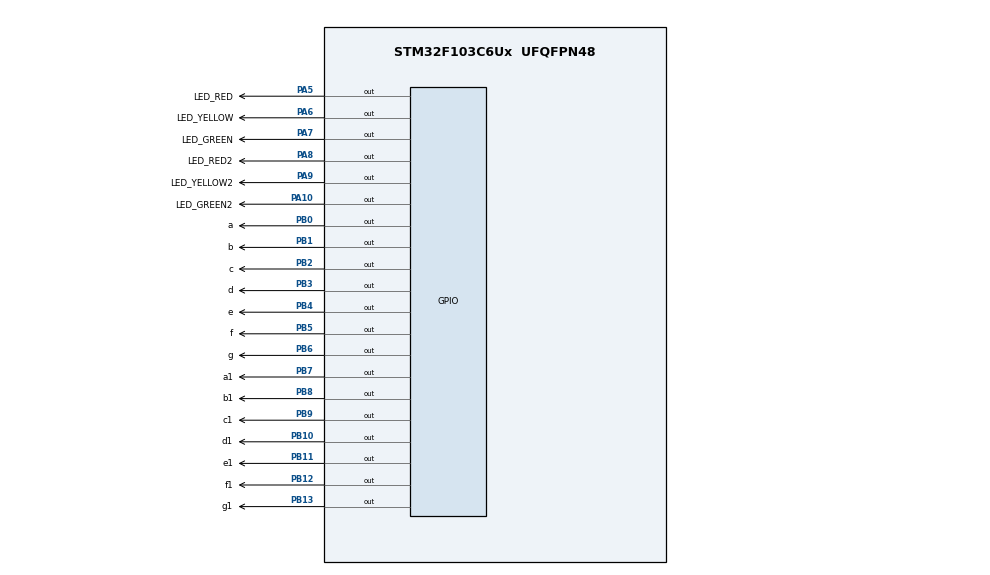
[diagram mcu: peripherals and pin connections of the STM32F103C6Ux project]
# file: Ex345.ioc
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Mcu.Family=STM32F1
Mcu.Name=STM32F103C6Ux
Mcu.Package=UFQFPN48
NVIC.PriorityGroup=NVIC_PRIORITYGROUP_4
PA10.GPIO_Label=LED_GREEN2
PA10.Signal=GPIO_Output
PA5.GPIO_Label=LED_RED
PA5.Signal=GPIO_Output
PA6.GPIO_Label=LED_YELLOW
PA6.Signal=GPIO_Output
PA7.GPIO_Label=LED_GREEN
PA7.Signal=GPIO_Output
PA8.GPIO_Label=LED_RED2
PA8.Signal=GPIO_Output
PA9.GPIO_Label=LED_YELLOW2
PA9.Signal=GPIO_Output
PB0.GPIO_Label=a
PB0.Signal=GPIO_Output
PB1.GPIO_Label=b
PB1.Signal=GPIO_Output
PB10.GPIO_Label=d1
PB10.Signal=GPIO_Output
PB11.GPIO_Label=e1
PB11.Signal=GPIO_Output
PB12.GPIO_Label=f1
PB12.Signal=GPIO_Output
PB13.GPIO_Label=g1
PB13.Signal=GPIO_Output
PB2.GPIO_Label=c
PB2.Signal=GPIO_Output
PB3.GPIO_Label=d
PB3.Signal=GPIO_Output
PB4.GPIO_Label=e
PB4.Signal=GPIO_Output
PB5.GPIO_Label=f
PB5.Signal=GPIO_Output
PB6.GPIO_Label=g
PB6.Signal=GPIO_Output
PB7.GPIO_Label=a1
PB7.Signal=GPIO_Output
PB8.GPIO_Label=b1
PB8.Signal=GPIO_Output
PB9.GPIO_Label=c1
PB9.Signal=GPIO_Output
ProjectManager.HeapSize=0x200
ProjectManager.StackSize=0x400
ProjectManager.TargetToolchain=STM32CubeIDE
RCC.APB1Freq_Value=8000000
RCC.APB2Freq_Value=8000000
VP_SYS_VS_ND.Mode=No_Debug
board=custom

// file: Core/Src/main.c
/* USER CODE BEGIN Header */
/**
  ******************************************************************************
  * @file           : main.c
  * @brief          : Main program body
  ******************************************************************************
  * @attention
  *
  * <h2><center>&copy; Copyright (c) 2024 STMicroelectronics.
  * All rights reserved.</center></h2>
  *
  * This software component is licensed by ST under BSD 3-Clause license,
  * the "License"; You may not use this file except in compliance with the
  * License. You may obtain a copy of the License at:
  *                        opensource.org/licenses/BSD-3-Clause
  *
  ******************************************************************************
  */
/* USER CODE END Header */
#include "main.h"

void SystemClock_Config(void);
static void MX_GPIO_Init(void);
void display7SEG1(int num);
void display7SEG(int num);

int main(void)
{

  /* MCU Configuration--------------------------------------------------------*/

  /* Reset of all peripherals, Initializes the Flash interface and the Systick. */
  HAL_Init();

  /* Configure the system clock */
  SystemClock_Config();

  /* Initialize all configured peripherals */
  MX_GPIO_Init();

  /* Infinite loop */
  /* USER CODE BEGIN WHILE */
  int counter = 11;
  while (1)
  {
		 counter --;
		 if (counter >= 8 && counter <=10 )
		 {
			 HAL_GPIO_WritePin ( LED_RED_GPIO_Port , LED_RED_Pin ,GPIO_PIN_RESET );
			 HAL_GPIO_WritePin ( LED_YELLOW_GPIO_Port , LED_YELLOW_Pin ,GPIO_PIN_SET );
			 HAL_GPIO_WritePin ( LED_GREEN_GPIO_Port , LED_GREEN_Pin ,GPIO_PIN_SET );

			 HAL_GPIO_WritePin ( LED_RED2_GPIO_Port , LED_RED2_Pin ,GPIO_PIN_SET );
			 HAL_GPIO_WritePin ( LED_YELLOW2_GPIO_Port , LED_YELLOW2_Pin ,GPIO_PIN_SET );
			 HAL_GPIO_WritePin ( LED_GREEN2_GPIO_Port , LED_GREEN2_Pin ,GPIO_PIN_RESET );
		 }
		 else if (counter >= 6 && counter <=7 )
		 {
			 HAL_GPIO_WritePin ( LED_RED_GPIO_Port , LED_RED_Pin ,GPIO_PIN_RESET );
			 HAL_GPIO_WritePin ( LED_YELLOW_GPIO_Port , LED_YELLOW_Pin ,GPIO_PIN_SET );
			 HAL_GPIO_WritePin ( LED_GREEN_GPIO_Port , LED_GREEN_Pin ,GPIO_PIN_SET );

			 HAL_GPIO_WritePin ( LED_RED2_GPIO_Port , LED_RED2_Pin ,GPIO_PIN_SET );
			 HAL_GPIO_WritePin ( LED_YELLOW2_GPIO_Port , LED_YELLOW2_Pin ,GPIO_PIN_RESET );
			 HAL_GPIO_WritePin ( LED_GREEN2_GPIO_Port , LED_GREEN2_Pin ,GPIO_PIN_SET );
		 }
		 else if (counter >= 3 && counter <=5)
		 {
			 HAL_GPIO_WritePin ( LED_RED_GPIO_Port , LED_RED_Pin ,GPIO_PIN_SET );
			 HAL_GPIO_WritePin ( LED_YELLOW_GPIO_Port , LED_YELLOW_Pin ,GPIO_PIN_SET );
			 HAL_GPIO_WritePin ( LED_GREEN_GPIO_Port , LED_GREEN_Pin ,GPIO_PIN_RESET );

			 HAL_GPIO_WritePin ( LED_RED2_GPIO_Port , LED_RED2_Pin ,GPIO_PIN_RESET );
			 HAL_GPIO_WritePin ( LED_YELLOW2_GPIO_Port , LED_YELLOW2_Pin ,GPIO_PIN_SET );
			 HAL_GPIO_WritePin ( LED_GREEN2_GPIO_Port , LED_GREEN2_Pin ,GPIO_PIN_SET );
		 }
		 else if (counter >= 1 && counter <= 2)
		 {
		 		 HAL_GPIO_WritePin ( LED_RED_GPIO_Port , LED_RED_Pin ,GPIO_PIN_SET );
		 		 HAL_GPIO_WritePin ( LED_YELLOW_GPIO_Port , LED_YELLOW_Pin ,GPIO_PIN_RESET );
		 		 HAL_GPIO_WritePin ( LED_GREEN_GPIO_Port , LED_GREEN_Pin ,GPIO_PIN_SET );

		 		 HAL_GPIO_WritePin ( LED_RED2_GPIO_Port , LED_RED2_Pin ,GPIO_PIN_RESET );
		 		 HAL_GPIO_WritePin ( LED_YELLOW2_GPIO_Port , LED_YELLOW2_Pin ,GPIO_PIN_SET );
		 		 HAL_GPIO_WritePin ( LED_GREEN2_GPIO_Port , LED_GREEN2_Pin ,GPIO_PIN_SET );
		 }
		 if (counter < 1)
		 {
			 counter = 11;
		 }
		 display7SEG(counter);
		 display7SEG1(counter);
		 HAL_Delay (1000) ;

	    /* USER CODE END WHILE */

	  }
}

    /* USER CODE END WHILE */

    /* USER CODE BEGIN 3 */
/* USER CODE BEGIN 3 */

void display7SEG(int num)
{
	switch (num) {
		case 1:
	          HAL_GPIO_WritePin(a_GPIO_Port, a_Pin, GPIO_PIN_RESET);
	          HAL_GPIO_WritePin(b_GPIO_Port, b_Pin, GPIO_PIN_RESET);
	          HAL_GPIO_WritePin(c_GPIO_Port, c_Pin, GPIO_PIN_RESET);
	          HAL_GPIO_WritePin(d_GPIO_Port, d_Pin, GPIO_PIN_RESET);
	          HAL_GPIO_WritePin(e_GPIO_Port, e_Pin, GPIO_PIN_RESET);
	          HAL_GPIO_WritePin(f_GPIO_Port, f_Pin, GPIO_PIN_RESET);
	          HAL_GPIO_WritePin(g_GPIO_Port, g_Pin, GPIO_PIN_SET);
			break;
		case 2:
	          HAL_GPIO_WritePin(a_GPIO_Port, a_Pin, GPIO_PIN_SET);
	          HAL_GPIO_WritePin(b_GPIO_Port, b_Pin, GPIO_PIN_RESET);
	          HAL_GPIO_WritePin(c_GPIO_Port, c_Pin, GPIO_PIN_RESET);
	          HAL_GPIO_WritePin(d_GPIO_Port, d_Pin, GPIO_PIN_SET);
	          HAL_GPIO_WritePin(e_GPIO_Port, e_Pin, GPIO_PIN_SET);
	          HAL_GPIO_WritePin(f_GPIO_Port, f_Pin, GPIO_PIN_SET);
	          HAL_GPIO_WritePin(g_GPIO_Port, g_Pin, GPIO_PIN_SET);
			break;
		case 3:
	          HAL_GPIO_WritePin(a_GPIO_Port, a_Pin, GPIO_PIN_RESET);
	          HAL_GPIO_WritePin(b_GPIO_Port, b_Pin, GPIO_PIN_RESET);
	          HAL_GPIO_WritePin(c_GPIO_Port, c_Pin, GPIO_PIN_RESET);
	          HAL_GPIO_WritePin(d_GPIO_Port, d_Pin, GPIO_PIN_RESET);
	          HAL_GPIO_WritePin(e_GPIO_Port, e_Pin, GPIO_PIN_RESET);
	          HAL_GPIO_WritePin(f_GPIO_Port, f_Pin, GPIO_PIN_RESET);
	          HAL_GPIO_WritePin(g_GPIO_Port, g_Pin, GPIO_PIN_SET);
			break;
		case 4:
	          HAL_GPIO_WritePin(a_GPIO_Port, a_Pin, GPIO_PIN_SET);
	          HAL_GPIO_WritePin(b_GPIO_Port, b_Pin, GPIO_PIN_RESET);
	          HAL_GPIO_WritePin(c_GPIO_Port, c_Pin, GPIO_PIN_RESET);
	          HAL_GPIO_WritePin(d_GPIO_Port, d_Pin, GPIO_PIN_SET);
	          HAL_GPIO_WritePin(e_GPIO_Port, e_Pin, GPIO_PIN_SET);
	          HAL_GPIO_WritePin(f_GPIO_Port, f_Pin, GPIO_PIN_SET);
	          HAL_GPIO_WritePin(g_GPIO_Port, g_Pin, GPIO_PIN_SET);
			break;
		case 5:
	          HAL_GPIO_WritePin(a_GPIO_Port, a_Pin, GPIO_PIN_RESET);
	          HAL_GPIO_WritePin(b_GPIO_Port, b_Pin, GPIO_PIN_RESET);
	          HAL_GPIO_WritePin(c_GPIO_Port, c_Pin, GPIO_PIN_SET);
	          HAL_GPIO_WritePin(d_GPIO_Port, d_Pin, GPIO_PIN_RESET);
	          HAL_GPIO_WritePin(e_GPIO_Port, e_Pin, GPIO_PIN_RESET);
	          HAL_GPIO_WritePin(f_GPIO_Port, f_Pin, GPIO_PIN_SET);
	          HAL_GPIO_WritePin(g_GPIO_Port, g_Pin, GPIO_PIN_RESET);
			break;
		case 6:
	          HAL_GPIO_WritePin(a_GPIO_Port, a_Pin, GPIO_PIN_RESET);
	          HAL_GPIO_WritePin(b_GPIO_Port, b_Pin, GPIO_PIN_RESET);
	          HAL_GPIO_WritePin(c_GPIO_Port, c_Pin, GPIO_PIN_RESET);
	          HAL_GPIO_WritePin(d_GPIO_Port, d_Pin, GPIO_PIN_RESET);
	          HAL_GPIO_WritePin(e_GPIO_Port, e_Pin, GPIO_PIN_RESET);
	          HAL_GPIO_WritePin(f_GPIO_Port, f_Pin, GPIO_PIN_RESET);
	          HAL_GPIO_WritePin(g_GPIO_Port, g_Pin, GPIO_PIN_SET);
			break;
		case 7:
	          HAL_GPIO_WritePin(a_GPIO_Port, a_Pin, GPIO_PIN_SET);
	          HAL_GPIO_WritePin(b_GPIO_Port, b_Pin, GPIO_PIN_RESET);
	          HAL_GPIO_WritePin(c_GPIO_Port, c_Pin, GPIO_PIN_RESET);
	          HAL_GPIO_WritePin(d_GPIO_Port, d_Pin, GPIO_PIN_SET);
	          HAL_GPIO_WritePin(e_GPIO_Port, e_Pin, GPIO_PIN_SET);
	          HAL_GPIO_WritePin(f_GPIO_Port, f_Pin, GPIO_PIN_SET);
	          HAL_GPIO_WritePin(g_GPIO_Port, g_Pin, GPIO_PIN_SET);
			break;
		case 8:
	          HAL_GPIO_WritePin(a_GPIO_Port, a_Pin, GPIO_PIN_RESET);
	          HAL_GPIO_WritePin(b_GPIO_Port, b_Pin, GPIO_PIN_RESET);
	          HAL_GPIO_WritePin(c_GPIO_Port, c_Pin, GPIO_PIN_SET);
	          HAL_GPIO_WritePin(d_GPIO_Port, d_Pin, GPIO_PIN_RESET);
	          HAL_GPIO_WritePin(e_GPIO_Port, e_Pin, GPIO_PIN_RESET);
	          HAL_GPIO_WritePin(f_GPIO_Port, f_Pin, GPIO_PIN_SET);
	          HAL_GPIO_WritePin(g_GPIO_Port, g_Pin, GPIO_PIN_RESET);
			break;
		case 9:
	          HAL_GPIO_WritePin(a_GPIO_Port, a_Pin, GPIO_PIN_RESET);
	          HAL_GPIO_WritePin(b_GPIO_Port, b_Pin, GPIO_PIN_RESET);
	          HAL_GPIO_WritePin(c_GPIO_Port, c_Pin, GPIO_PIN_RESET);
	          HAL_GPIO_WritePin(d_GPIO_Port, d_Pin, GPIO_PIN_RESET);
	          HAL_GPIO_WritePin(e_GPIO_Port, e_Pin, GPIO_PIN_SET);
	          HAL_GPIO_WritePin(f_GPIO_Port, f_Pin, GPIO_PIN_SET);
	          HAL_GPIO_WritePin(g_GPIO_Port, g_Pin, GPIO_PIN_RESET);
			break;
		case 10:
	          HAL_GPIO_WritePin(a_GPIO_Port, a_Pin, GPIO_PIN_SET);
	          HAL_GPIO_WritePin(b_GPIO_Port, b_Pin, GPIO_PIN_RESET);
	          HAL_GPIO_WritePin(c_GPIO_Port, c_Pin, GPIO_PIN_RESET);
	          HAL_GPIO_WritePin(d_GPIO_Port, d_Pin, GPIO_PIN_SET);
	          HAL_GPIO_WritePin(e_GPIO_Port, e_Pin, GPIO_PIN_SET);
	          HAL_GPIO_WritePin(f_GPIO_Port, f_Pin, GPIO_PIN_RESET);
	          HAL_GPIO_WritePin(g_GPIO_Port, g_Pin, GPIO_PIN_RESET);
			break;
		default:
			break;
	}
}

void display7SEG1(int num)
{
	switch (num) {
		case 1:
	          HAL_GPIO_WritePin(a1_GPIO_Port, a1_Pin, GPIO_PIN_RESET);
	          HAL_GPIO_WritePin(b1_GPIO_Port, b1_Pin, GPIO_PIN_RESET);
	          HAL_GPIO_WritePin(c1_GPIO_Port, c1_Pin, GPIO_PIN_RESET);
	          HAL_GPIO_WritePin(d1_GPIO_Port, d1_Pin, GPIO_PIN_RESET);
	          HAL_GPIO_WritePin(e1_GPIO_Port, e1_Pin, GPIO_PIN_RESET);
	          HAL_GPIO_WritePin(f1_GPIO_Port, f1_Pin, GPIO_PIN_RESET);
	          HAL_GPIO_WritePin(g1_GPIO_Port, g1_Pin, GPIO_PIN_SET);
			break;
		case 2:
	          HAL_GPIO_WritePin(a1_GPIO_Port, a1_Pin, GPIO_PIN_SET);
	          HAL_GPIO_WritePin(b1_GPIO_Port, b1_Pin, GPIO_PIN_RESET);
	          HAL_GPIO_WritePin(c1_GPIO_Port, c1_Pin, GPIO_PIN_RESET);
	          HAL_GPIO_WritePin(d1_GPIO_Port, d1_Pin, GPIO_PIN_SET);
	          HAL_GPIO_WritePin(e1_GPIO_Port, e1_Pin, GPIO_PIN_SET);
	          HAL_GPIO_WritePin(f1_GPIO_Port, f1_Pin, GPIO_PIN_SET);
	          HAL_GPIO_WritePin(g1_GPIO_Port, g1_Pin, GPIO_PIN_SET);
			break;
		case 3:
	          HAL_GPIO_WritePin(a1_GPIO_Port, a1_Pin, GPIO_PIN_RESET);
	          HAL_GPIO_WritePin(b1_GPIO_Port, b1_Pin, GPIO_PIN_RESET);
	          HAL_GPIO_WritePin(c1_GPIO_Port, c1_Pin, GPIO_PIN_SET);
	          HAL_GPIO_WritePin(d1_GPIO_Port, d1_Pin, GPIO_PIN_RESET);
	          HAL_GPIO_WritePin(e1_GPIO_Port, e1_Pin, GPIO_PIN_RESET);
	          HAL_GPIO_WritePin(f1_GPIO_Port, f1_Pin, GPIO_PIN_SET);
	          HAL_GPIO_WritePin(g1_GPIO_Port, g1_Pin, GPIO_PIN_RESET);
			break;
		case 4:
	          HAL_GPIO_WritePin(a1_GPIO_Port, a1_Pin, GPIO_PIN_RESET);
	          HAL_GPIO_WritePin(b1_GPIO_Port, b1_Pin, GPIO_PIN_RESET);
	          HAL_GPIO_WritePin(c1_GPIO_Port, c1_Pin, GPIO_PIN_RESET);
	          HAL_GPIO_WritePin(d1_GPIO_Port, d1_Pin, GPIO_PIN_RESET);
	          HAL_GPIO_WritePin(e1_GPIO_Port, e1_Pin, GPIO_PIN_SET);
	          HAL_GPIO_WritePin(f1_GPIO_Port, f1_Pin, GPIO_PIN_SET);
	          HAL_GPIO_WritePin(g1_GPIO_Port, g1_Pin, GPIO_PIN_RESET);
			break;
		case 5:
	          HAL_GPIO_WritePin(a1_GPIO_Port, a1_Pin, GPIO_PIN_SET);
	          HAL_GPIO_WritePin(b1_GPIO_Port, b1_Pin, GPIO_PIN_RESET);
	          HAL_GPIO_WritePin(c1_GPIO_Port, c1_Pin, GPIO_PIN_RESET);
	          HAL_GPIO_WritePin(d1_GPIO_Port, d1_Pin, GPIO_PIN_SET);
	          HAL_GPIO_WritePin(e1_GPIO_Port, e1_Pin, GPIO_PIN_SET);
	          HAL_GPIO_WritePin(f1_GPIO_Port, f1_Pin, GPIO_PIN_RESET);
	          HAL_GPIO_WritePin(g1_GPIO_Port, g1_Pin, GPIO_PIN_RESET);
			break;
		case 6:
	          HAL_GPIO_WritePin(a1_GPIO_Port, a1_Pin, GPIO_PIN_RESET);
	          HAL_GPIO_WritePin(b1_GPIO_Port, b1_Pin, GPIO_PIN_RESET);
	          HAL_GPIO_WritePin(c1_GPIO_Port, c1_Pin, GPIO_PIN_RESET);
	          HAL_GPIO_WritePin(d1_GPIO_Port, d1_Pin, GPIO_PIN_RESET);
	          HAL_GPIO_WritePin(e1_GPIO_Port, e1_Pin, GPIO_PIN_RESET);
	          HAL_GPIO_WritePin(f1_GPIO_Port, f1_Pin, GPIO_PIN_RESET);
	          HAL_GPIO_WritePin(g1_GPIO_Port, g1_Pin, GPIO_PIN_SET);
			break;
		case 7:
	          HAL_GPIO_WritePin(a1_GPIO_Port, a1_Pin, GPIO_PIN_RESET);
	          HAL_GPIO_WritePin(a1_GPIO_Port, a1_Pin, GPIO_PIN_SET);
	          HAL_GPIO_WritePin(b1_GPIO_Port, b1_Pin, GPIO_PIN_RESET);
	          HAL_GPIO_WritePin(c1_GPIO_Port, c1_Pin, GPIO_PIN_RESET);
	          HAL_GPIO_WritePin(d1_GPIO_Port, d1_Pin, GPIO_PIN_SET);
	          HAL_GPIO_WritePin(e1_GPIO_Port, e1_Pin, GPIO_PIN_SET);
	          HAL_GPIO_WritePin(f1_GPIO_Port, f1_Pin, GPIO_PIN_SET);
	          HAL_GPIO_WritePin(g1_GPIO_Port, g1_Pin, GPIO_PIN_SET);
			break;
		case 8:
	          HAL_GPIO_WritePin(a1_GPIO_Port, a1_Pin, GPIO_PIN_RESET);
	          HAL_GPIO_WritePin(b1_GPIO_Port, b1_Pin, GPIO_PIN_RESET);
	          HAL_GPIO_WritePin(c1_GPIO_Port, c1_Pin, GPIO_PIN_RESET);
	          HAL_GPIO_WritePin(d1_GPIO_Port, d1_Pin, GPIO_PIN_RESET);
	          HAL_GPIO_WritePin(e1_GPIO_Port, e1_Pin, GPIO_PIN_RESET);
	          HAL_GPIO_WritePin(f1_GPIO_Port, f1_Pin, GPIO_PIN_RESET);
	          HAL_GPIO_WritePin(g1_GPIO_Port, g1_Pin, GPIO_PIN_SET);
			break;
		case 9:
	          HAL_GPIO_WritePin(a1_GPIO_Port, a1_Pin, GPIO_PIN_SET);
	          HAL_GPIO_WritePin(b1_GPIO_Port, b1_Pin, GPIO_PIN_RESET);
	          HAL_GPIO_WritePin(c1_GPIO_Port, c1_Pin, GPIO_PIN_RESET);
	          HAL_GPIO_WritePin(d1_GPIO_Port, d1_Pin, GPIO_PIN_SET);
	          HAL_GPIO_WritePin(e1_GPIO_Port, e1_Pin, GPIO_PIN_SET);
	          HAL_GPIO_WritePin(f1_GPIO_Port, f1_Pin, GPIO_PIN_SET);
	          HAL_GPIO_WritePin(g1_GPIO_Port, g1_Pin, GPIO_PIN_SET);
			break;
		case 10:
	          HAL_GPIO_WritePin(a1_GPIO_Port, a1_Pin, GPIO_PIN_RESET);
	          HAL_GPIO_WritePin(b1_GPIO_Port, b1_Pin, GPIO_PIN_RESET);
	          HAL_GPIO_WritePin(c1_GPIO_Port, c1_Pin, GPIO_PIN_SET);
	          HAL_GPIO_WritePin(d1_GPIO_Port, d1_Pin, GPIO_PIN_RESET);
	          HAL_GPIO_WritePin(e1_GPIO_Port, e1_Pin, GPIO_PIN_RESET);
	          HAL_GPIO_WritePin(f1_GPIO_Port, f1_Pin, GPIO_PIN_SET);
	          HAL_GPIO_WritePin(g1_GPIO_Port, g1_Pin, GPIO_PIN_RESET);
			break;
		default:
			break;
	}
}
void SystemClock_Config(void)
{
  RCC_OscInitTypeDef RCC_OscInitStruct = {0};
  RCC_ClkInitTypeDef RCC_ClkInitStruct = {0};

  /** Initializes the RCC Oscillators according to the specified parameters
  * in the RCC_OscInitTypeDef structure.
  */
  RCC_OscInitStruct.OscillatorType = RCC_OSCILLATORTYPE_HSI;
  RCC_OscInitStruct.HSIState = RCC_HSI_ON;
  RCC_OscInitStruct.HSICalibrationValue = RCC_HSICALIBRATION_DEFAULT;
  RCC_OscInitStruct.PLL.PLLState = RCC_PLL_NONE;
  if (HAL_RCC_OscConfig(&RCC_OscInitStruct) != HAL_OK)
  {
    Error_Handler();
  }
  /** Initializes the CPU, AHB and APB buses clocks
  */
  RCC_ClkInitStruct.ClockType = RCC_CLOCKTYPE_HCLK|RCC_CLOCKTYPE_SYSCLK
                              |RCC_CLOCKTYPE_PCLK1|RCC_CLOCKTYPE_PCLK2;
  RCC_ClkInitStruct.SYSCLKSource = RCC_SYSCLKSOURCE_HSI;
  RCC_ClkInitStruct.AHBCLKDivider = RCC_SYSCLK_DIV1;
  RCC_ClkInitStruct.APB1CLKDivider = RCC_HCLK_DIV1;
  RCC_ClkInitStruct.APB2CLKDivider = RCC_HCLK_DIV1;

  if (HAL_RCC_ClockConfig(&RCC_ClkInitStruct, FLASH_LATENCY_0) != HAL_OK)
  {
    Error_Handler();
  }
}

static void MX_GPIO_Init(void)
{
  GPIO_InitTypeDef GPIO_InitStruct = {0};

  /* GPIO Ports Clock Enable */
  __HAL_RCC_GPIOA_CLK_ENABLE();
  __HAL_RCC_GPIOB_CLK_ENABLE();

  /*Configure GPIO pin Output Level */
  HAL_GPIO_WritePin(GPIOA, LED_RED_Pin|LED_YELLOW_Pin|LED_GREEN_Pin|LED_RED2_Pin
                          |LED_YELLOW2_Pin|LED_GREEN2_Pin, GPIO_PIN_RESET);

  /*Configure GPIO pin Output Level */
  HAL_GPIO_WritePin(GPIOB, a_Pin|b_Pin|c_Pin|d1_Pin
                          |e1_Pin|f1_Pin|g1_Pin|d_Pin
                          |e_Pin|f_Pin|g_Pin|a1_Pin
                          |b1_Pin|c1_Pin, GPIO_PIN_RESET);

  /*Configure GPIO pins : LED_RED_Pin LED_YELLOW_Pin LED_GREEN_Pin LED_RED2_Pin
                           LED_YELLOW2_Pin LED_GREEN2_Pin */
  GPIO_InitStruct.Pin = LED_RED_Pin|LED_YELLOW_Pin|LED_GREEN_Pin|LED_RED2_Pin
                          |LED_YELLOW2_Pin|LED_GREEN2_Pin;
  GPIO_InitStruct.Mode = GPIO_MODE_OUTPUT_PP;
  GPIO_InitStruct.Pull = GPIO_NOPULL;
  GPIO_InitStruct.Speed = GPIO_SPEED_FREQ_LOW;
  HAL_GPIO_Init(GPIOA, &GPIO_InitStruct);

  /*Configure GPIO pins : a_Pin b_Pin c_Pin d1_Pin
                           e1_Pin f1_Pin g1_Pin d_Pin
                           e_Pin f_Pin g_Pin a1_Pin
                           b1_Pin c1_Pin */
  GPIO_InitStruct.Pin = a_Pin|b_Pin|c_Pin|d1_Pin
                          |e1_Pin|f1_Pin|g1_Pin|d_Pin
                          |e_Pin|f_Pin|g_Pin|a1_Pin
                          |b1_Pin|c1_Pin;
  GPIO_InitStruct.Mode = GPIO_MODE_OUTPUT_PP;
  GPIO_InitStruct.Pull = GPIO_NOPULL;
  GPIO_InitStruct.Speed = GPIO_SPEED_FREQ_LOW;
  HAL_GPIO_Init(GPIOB, &GPIO_InitStruct);

}

void Error_Handler(void)
{
  __disable_irq();
  while (1)
  {
  }
}

/************************ (C) COPYRIGHT STMicroelectronics *****END OF FILE****/
